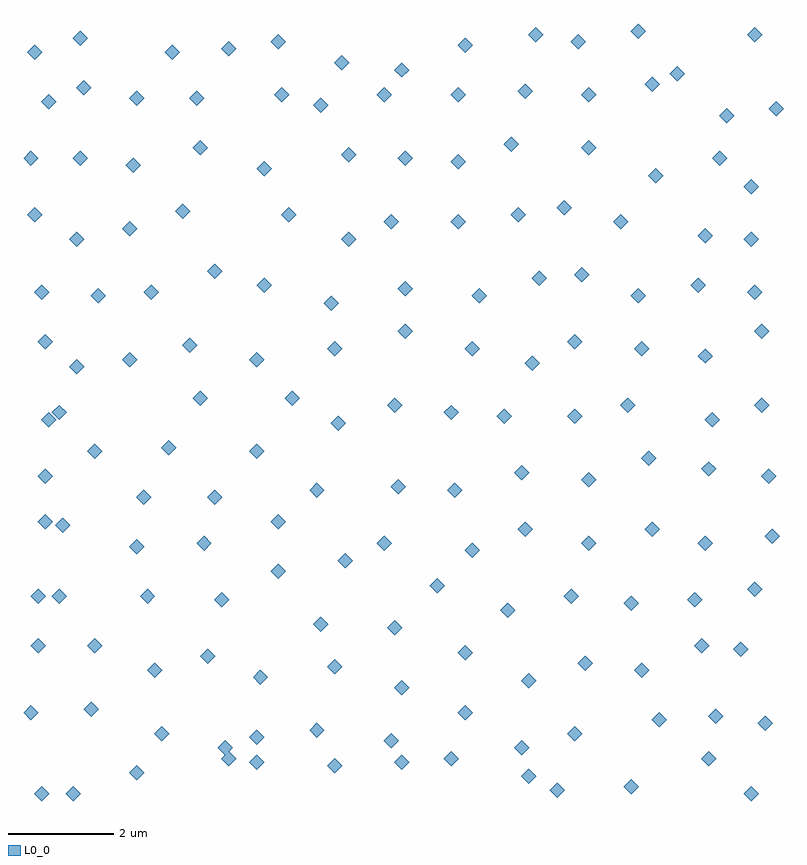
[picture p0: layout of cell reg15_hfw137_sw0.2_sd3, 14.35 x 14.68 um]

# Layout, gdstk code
import gdstk
lib = gdstk.Library(unit=1e-6, precision=1e-11)
def P(c, l, *ps):  # polygons
    for p in ps: c.add(gdstk.Polygon(p, *l))
L0_0 = (0, 0)

reg15_hfw137_sw0_2_sd3 = lib.new_cell('reg15_hfw137_sw0.2_sd3')
P(reg15_hfw137_sw0_2_sd3, L0_0, [(0.7374,1.9374),(0.8788,1.796),(0.7374,1.6545),(0.596,1.796)],
  [(0.7374,12.404),(0.8788,12.2626),(0.7374,12.1212),(0.596,12.2626)],
  [(0.804,11.3374),(0.9455,11.196),(0.804,11.0545),(0.6626,11.196)],
  [(0.804,14.404),(0.9455,14.2626),(0.804,14.1212),(0.6626,14.2626)],
  [(0.8707,3.204),(1.0121,3.0626),(0.8707,2.9212),(0.7293,3.0626)],
  [(0.8707,4.1374),(1.0121,3.996),(0.8707,3.8545),(0.7293,3.996)],
  [(0.9374,0.404),(1.0788,0.2626),(0.9374,0.1212),(0.796,0.2626)],
  [(0.9374,9.8707),(1.0788,9.7293),(0.9374,9.5879),(0.796,9.7293)],
  [(1.004,5.5374),(1.1455,5.396),(1.004,5.2545),(0.8626,5.396)],
  [(1.004,6.404),(1.1455,6.2626),(1.004,6.1212),(0.8626,6.2626)],
  [(1.004,8.9374),(1.1455,8.796),(1.004,8.6545),(0.8626,8.796)],
  [(1.0707,7.4707),(1.2121,7.3293),(1.0707,7.1879),(0.9293,7.3293)],
  [(1.0707,13.4707),(1.2121,13.3293),(1.0707,13.1879),(0.9293,13.3293)],
  [(1.2707,4.1374),(1.4121,3.996),(1.2707,3.8545),(1.1293,3.996)],
  [(1.2707,7.604),(1.4121,7.4626),(1.2707,7.3212),(1.1293,7.4626)],
  [(1.3374,5.4707),(1.4788,5.3293),(1.3374,5.1879),(1.196,5.3293)],
  [(1.5374,0.404),(1.6788,0.2626),(1.5374,0.1212),(1.396,0.2626)],
  [(1.604,8.4707),(1.7455,8.3293),(1.604,8.1879),(1.4626,8.3293)],
  [(1.604,10.8707),(1.7455,10.7293),(1.604,10.5879),(1.4626,10.7293)],
  [(1.6707,12.404),(1.8121,12.2626),(1.6707,12.1212),(1.5293,12.2626)],
  [(1.6707,14.6707),(1.8121,14.5293),(1.6707,14.3879),(1.5293,14.5293)],
  [(1.7374,13.7374),(1.8788,13.596),(1.7374,13.4545),(1.596,13.596)],
  [(1.8707,2.004),(2.0121,1.8626),(1.8707,1.7212),(1.7293,1.8626)],
  [(1.9374,3.204),(2.0788,3.0626),(1.9374,2.9212),(1.796,3.0626)],
  [(1.9374,6.8707),(2.0788,6.7293),(1.9374,6.5879),(1.796,6.7293)],
  [(2.004,9.804),(2.1455,9.6626),(2.004,9.5212),(1.8626,9.6626)],
  [(2.604,8.604),(2.7455,8.4626),(2.604,8.3212),(2.4626,8.4626)],
  [(2.604,11.0707),(2.7455,10.9293),(2.604,10.7879),(2.4626,10.9293)],
  [(2.6707,12.2707),(2.8121,12.1293),(2.6707,11.9879),(2.5293,12.1293)],
  [(2.7374,0.804),(2.8788,0.6626),(2.7374,0.5212),(2.596,0.6626)],
  [(2.7374,5.0707),(2.8788,4.9293),(2.7374,4.7879),(2.596,4.9293)],
  [(2.7374,13.5374),(2.8788,13.396),(2.7374,13.2545),(2.596,13.396)],
  [(2.8707,6.004),(3.0121,5.8626),(2.8707,5.7212),(2.7293,5.8626)],
  [(2.9374,4.1374),(3.0788,3.996),(2.9374,3.8545),(2.796,3.996)],
  [(3.004,9.8707),(3.1455,9.7293),(3.004,9.5879),(2.8626,9.7293)],
  [(3.0707,2.7374),(3.2121,2.596),(3.0707,2.4545),(2.9293,2.596)],
  [(3.204,1.5374),(3.3455,1.396),(3.204,1.2545),(3.0626,1.396)],
  [(3.3374,6.9374),(3.4788,6.796),(3.3374,6.6545),(3.196,6.796)],
  [(3.404,14.404),(3.5455,14.2626),(3.404,14.1212),(3.2626,14.2626)],
  [(3.604,11.404),(3.7455,11.2626),(3.604,11.1212),(3.4626,11.2626)],
  [(3.7374,8.8707),(3.8788,8.7293),(3.7374,8.5879),(3.596,8.7293)],
  [(3.8707,13.5374),(4.0121,13.396),(3.8707,13.2545),(3.7293,13.396)],
  [(3.9374,7.8707),(4.0788,7.7293),(3.9374,7.5879),(3.796,7.7293)],
  [(3.9374,12.604),(4.0788,12.4626),(3.9374,12.3212),(3.796,12.4626)],
  [(4.004,5.1374),(4.1455,4.996),(4.004,4.8545),(3.8626,4.996)],
  [(4.0707,3.004),(4.2121,2.8626),(4.0707,2.7212),(3.9293,2.8626)],
  [(4.204,6.004),(4.3455,5.8626),(4.204,5.7212),(4.0626,5.8626)],
  [(4.204,10.2707),(4.3455,10.1293),(4.204,9.9879),(4.0626,10.1293)],
  [(4.3374,4.0707),(4.4788,3.9293),(4.3374,3.7879),(4.196,3.9293)],
  [(4.404,1.2707),(4.5455,1.1293),(4.404,0.9879),(4.2626,1.1293)],
  [(4.4707,1.0707),(4.6121,0.9293),(4.4707,0.7879),(4.3293,0.9293)],
  [(4.4707,14.4707),(4.6121,14.3293),(4.4707,14.1879),(4.3293,14.3293)],
  [(5.004,1.004),(5.1455,0.8626),(5.004,0.7212),(4.8626,0.8626)],
  [(5.004,1.4707),(5.1455,1.3293),(5.004,1.1879),(4.8626,1.3293)],
  [(5.004,6.8707),(5.1455,6.7293),(5.004,6.5879),(4.8626,6.7293)],
  [(5.004,8.604),(5.1455,8.4626),(5.004,8.3212),(4.8626,8.4626)],
  [(5.0707,2.604),(5.2121,2.4626),(5.0707,2.3212),(4.9293,2.4626)],
  [(5.1374,10.004),(5.2788,9.8626),(5.1374,9.7212),(4.996,9.8626)],
  [(5.1374,12.204),(5.2788,12.0626),(5.1374,11.9212),(4.996,12.0626)],
  [(5.404,4.604),(5.5455,4.4626),(5.404,4.3212),(5.2626,4.4626)],
  [(5.404,5.5374),(5.5455,5.396),(5.404,5.2545),(5.2626,5.396)],
  [(5.404,14.604),(5.5455,14.4626),(5.404,14.3212),(5.2626,14.4626)],
  [(5.4707,13.604),(5.6121,13.4626),(5.4707,13.3212),(5.3293,13.4626)],
  [(5.604,11.3374),(5.7455,11.196),(5.604,11.0545),(5.4626,11.196)],
  [(5.6707,7.8707),(5.8121,7.7293),(5.6707,7.5879),(5.5293,7.7293)],
  [(6.1374,1.604),(6.2788,1.4626),(6.1374,1.3212),(5.996,1.4626)],
  [(6.1374,6.1374),(6.2788,5.996),(6.1374,5.8545),(5.996,5.996)],
  [(6.204,3.604),(6.3455,3.4626),(6.204,3.3212),(6.0626,3.4626)],
  [(6.204,13.404),(6.3455,13.2626),(6.204,13.1212),(6.0626,13.2626)],
  [(6.404,9.6707),(6.5455,9.5293),(6.404,9.3879),(6.2626,9.5293)],
  [(6.4707,0.9374),(6.6121,0.796),(6.4707,0.6545),(6.3293,0.796)],
  [(6.4707,2.804),(6.6121,2.6626),(6.4707,2.5212),(6.3293,2.6626)],
  [(6.4707,8.804),(6.6121,8.6626),(6.4707,8.5212),(6.3293,8.6626)],
  [(6.5374,7.404),(6.6788,7.2626),(6.5374,7.1212),(6.396,7.2626)],
  [(6.604,14.204),(6.7455,14.0626),(6.604,13.9212),(6.4626,14.0626)],
  [(6.6707,4.804),(6.8121,4.6626),(6.6707,4.5212),(6.5293,4.6626)],
  [(6.7374,10.8707),(6.8788,10.7293),(6.7374,10.5879),(6.596,10.7293)],
  [(6.7374,12.4707),(6.8788,12.3293),(6.7374,12.1879),(6.596,12.3293)],
  [(7.404,5.1374),(7.5455,4.996),(7.404,4.8545),(7.2626,4.996)],
  [(7.404,13.604),(7.5455,13.4626),(7.404,13.3212),(7.2626,13.4626)],
  [(7.5374,1.404),(7.6788,1.2626),(7.5374,1.1212),(7.396,1.2626)],
  [(7.5374,11.204),(7.6788,11.0626),(7.5374,10.9212),(7.396,11.0626)],
  [(7.604,3.5374),(7.7455,3.396),(7.604,3.2545),(7.4626,3.396)],
  [(7.604,7.7374),(7.7455,7.596),(7.604,7.4545),(7.4626,7.596)],
  [(7.6707,6.204),(7.8121,6.0626),(7.6707,5.9212),(7.5293,6.0626)],
  [(7.7374,1.004),(7.8788,0.8626),(7.7374,0.7212),(7.596,0.8626)],
  [(7.7374,2.404),(7.8788,2.2626),(7.7374,2.1212),(7.596,2.2626)],
  [(7.7374,14.0707),(7.8788,13.9293),(7.7374,13.7879),(7.596,13.9293)],
  [(7.804,9.1374),(7.9455,8.996),(7.804,8.8545),(7.6626,8.996)],
  [(7.804,9.9374),(7.9455,9.796),(7.804,9.6545),(7.6626,9.796)],
  [(7.804,12.404),(7.9455,12.2626),(7.804,12.1212),(7.6626,12.2626)],
  [(8.404,4.3374),(8.5455,4.196),(8.404,4.0545),(8.2626,4.196)],
  [(8.6707,1.0707),(8.8121,0.9293),(8.6707,0.7879),(8.5293,0.9293)],
  [(8.6707,7.604),(8.8121,7.4626),(8.6707,7.3212),(8.5293,7.4626)],
  [(8.7374,6.1374),(8.8788,5.996),(8.7374,5.8545),(8.596,5.996)],
  [(8.804,11.204),(8.9455,11.0626),(8.804,10.9212),(8.6626,11.0626)],
  [(8.804,12.3374),(8.9455,12.196),(8.804,12.0545),(8.6626,12.196)],
  [(8.804,13.604),(8.9455,13.4626),(8.804,13.3212),(8.6626,13.4626)],
  [(8.9374,1.9374),(9.0788,1.796),(8.9374,1.6545),(8.796,1.796)],
  [(8.9374,3.0707),(9.0788,2.9293),(8.9374,2.7879),(8.796,2.9293)],
  [(8.9374,14.5374),(9.0788,14.396),(8.9374,14.2545),(8.796,14.396)],
  [(9.0707,5.004),(9.2121,4.8626),(9.0707,4.7212),(8.9293,4.8626)],
  [(9.0707,8.804),(9.2121,8.6626),(9.0707,8.5212),(8.9293,8.6626)],
  [(9.204,9.804),(9.3455,9.6626),(9.204,9.5212),(9.0626,9.6626)],
  [(9.6707,7.5374),(9.8121,7.396),(9.6707,7.2545),(9.5293,7.396)],
  [(9.7374,3.8707),(9.8788,3.7293),(9.7374,3.5879),(9.596,3.7293)],
  [(9.804,12.6707),(9.9455,12.5293),(9.804,12.3879),(9.6626,12.5293)],
  [(9.9374,11.3374),(10.0788,11.196),(9.9374,11.0545),(9.796,11.196)],
  [(10.004,1.2707),(10.1455,1.1293),(10.004,0.9879),(9.8626,1.1293)],
  [(10.004,6.4707),(10.1455,6.3293),(10.004,6.1879),(9.8626,6.3293)],
  [(10.0707,5.404),(10.2121,5.2626),(10.0707,5.1212),(9.9293,5.2626)],
  [(10.0707,13.6707),(10.2121,13.5293),(10.0707,13.3879),(9.9293,13.5293)],
  [(10.1374,0.7374),(10.2788,0.596),(10.1374,0.4545),(9.996,0.596)],
  [(10.1374,2.5374),(10.2788,2.396),(10.1374,2.2545),(9.996,2.396)],
  [(10.204,8.5374),(10.3455,8.396),(10.204,8.2545),(10.0626,8.396)],
  [(10.2707,14.7374),(10.4121,14.596),(10.2707,14.4545),(10.1293,14.596)],
  [(10.3374,10.1374),(10.4788,9.996),(10.3374,9.8545),(10.196,9.996)],
  [(10.6707,0.4707),(10.8121,0.3293),(10.6707,0.1879),(10.5293,0.3293)],
  [(10.804,11.4707),(10.9455,11.3293),(10.804,11.1879),(10.6626,11.3293)],
  [(10.9374,4.1374),(11.0788,3.996),(10.9374,3.8545),(10.796,3.996)],
  [(11.004,1.5374),(11.1455,1.396),(11.004,1.2545),(10.8626,1.396)],
  [(11.004,7.5374),(11.1455,7.396),(11.004,7.2545),(10.8626,7.396)],
  [(11.004,8.9374),(11.1455,8.796),(11.004,8.6545),(10.8626,8.796)],
  [(11.0707,14.604),(11.2121,14.4626),(11.0707,14.3212),(10.9293,14.4626)],
  [(11.1374,10.204),(11.2788,10.0626),(11.1374,9.9212),(10.996,10.0626)],
  [(11.204,2.8707),(11.3455,2.7293),(11.204,2.5879),(11.0626,2.7293)],
  [(11.2707,5.1374),(11.4121,4.996),(11.2707,4.8545),(11.1293,4.996)],
  [(11.2707,6.3374),(11.4121,6.196),(11.2707,6.0545),(11.1293,6.196)],
  [(11.2707,12.604),(11.4121,12.4626),(11.2707,12.3212),(11.1293,12.4626)],
  [(11.2707,13.604),(11.4121,13.4626),(11.2707,13.3212),(11.1293,13.4626)],
  [(11.8707,11.204),(12.0121,11.0626),(11.8707,10.9212),(11.7293,11.0626)],
  [(12.004,7.7374),(12.1455,7.596),(12.004,7.4545),(11.8626,7.596)],
  [(12.0707,0.5374),(12.2121,0.396),(12.0707,0.2545),(11.9293,0.396)],
  [(12.0707,4.004),(12.2121,3.8626),(12.0707,3.7212),(11.9293,3.8626)],
  [(12.204,9.804),(12.3455,9.6626),(12.204,9.5212),(12.0626,9.6626)],
  [(12.204,14.804),(12.3455,14.6626),(12.204,14.5212),(12.0626,14.6626)],
  [(12.2707,2.7374),(12.4121,2.596),(12.2707,2.4545),(12.1293,2.596)],
  [(12.2707,8.804),(12.4121,8.6626),(12.2707,8.5212),(12.1293,8.6626)],
  [(12.404,6.7374),(12.5455,6.596),(12.404,6.4545),(12.2626,6.596)],
  [(12.4707,5.404),(12.6121,5.2626),(12.4707,5.1212),(12.3293,5.2626)],
  [(12.4707,13.804),(12.6121,13.6626),(12.4707,13.5212),(12.3293,13.6626)],
  [(12.5374,12.0707),(12.6788,11.9293),(12.5374,11.7879),(12.396,11.9293)],
  [(12.604,1.804),(12.7455,1.6626),(12.604,1.5212),(12.4626,1.6626)],
  [(12.9374,14.004),(13.0788,13.8626),(12.9374,13.7212),(12.796,13.8626)],
  [(13.2707,4.0707),(13.4121,3.9293),(13.2707,3.7879),(13.1293,3.9293)],
  [(13.3374,10.004),(13.4788,9.8626),(13.3374,9.7212),(13.196,9.8626)],
  [(13.404,3.204),(13.5455,3.0626),(13.404,2.9212),(13.2626,3.0626)],
  [(13.4707,5.1374),(13.6121,4.996),(13.4707,4.8545),(13.3293,4.996)],
  [(13.4707,8.6707),(13.6121,8.5293),(13.4707,8.3879),(13.3293,8.5293)],
  [(13.4707,10.9374),(13.6121,10.796),(13.4707,10.6545),(13.3293,10.796)],
  [(13.5374,1.0707),(13.6788,0.9293),(13.5374,0.7879),(13.396,0.9293)],
  [(13.5374,6.5374),(13.6788,6.396),(13.5374,6.2545),(13.396,6.396)],
  [(13.604,7.4707),(13.7455,7.3293),(13.604,7.1879),(13.4626,7.3293)],
  [(13.6707,1.8707),(13.8121,1.7293),(13.6707,1.5879),(13.5293,1.7293)],
  [(13.7374,12.404),(13.8788,12.2626),(13.7374,12.1212),(13.596,12.2626)],
  [(13.8707,13.204),(14.0121,13.0626),(13.8707,12.9212),(13.7293,13.0626)],
  [(14.1374,3.1374),(14.2788,2.996),(14.1374,2.8545),(13.996,2.996)],
  [(14.3374,0.404),(14.4788,0.2626),(14.3374,0.1212),(14.196,0.2626)],
  [(14.3374,10.8707),(14.4788,10.7293),(14.3374,10.5879),(14.196,10.7293)],
  [(14.3374,11.8707),(14.4788,11.7293),(14.3374,11.5879),(14.196,11.7293)],
  [(14.404,4.2707),(14.5455,4.1293),(14.404,3.9879),(14.2626,4.1293)],
  [(14.404,9.8707),(14.5455,9.7293),(14.404,9.5879),(14.2626,9.7293)],
  [(14.404,14.7374),(14.5455,14.596),(14.404,14.4545),(14.2626,14.596)],
  [(14.5374,7.7374),(14.6788,7.596),(14.5374,7.4545),(14.396,7.596)],
  [(14.5374,9.1374),(14.6788,8.996),(14.5374,8.8545),(14.396,8.996)],
  [(14.604,1.7374),(14.7455,1.596),(14.604,1.4545),(14.4626,1.596)],
  [(14.6707,6.404),(14.8121,6.2626),(14.6707,6.1212),(14.5293,6.2626)],
  [(14.7374,5.2707),(14.8788,5.1293),(14.7374,4.9879),(14.596,5.1293)],
  [(14.804,13.3374),(14.9455,13.196),(14.804,13.0545),(14.6626,13.196)])

lib.write_gds('reg15_hfw137_sw0.2_sd3.gds')
